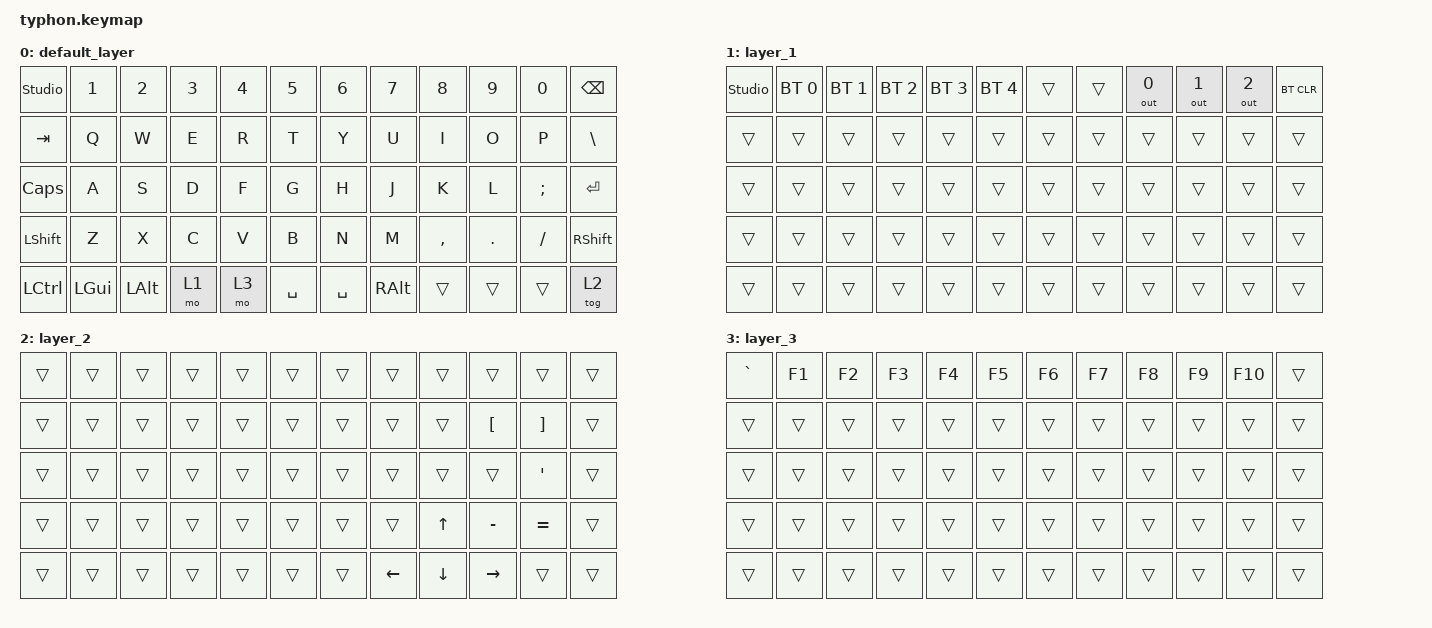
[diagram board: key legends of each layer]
#include <behaviors.dtsi>
#include <dt-bindings/zmk/keys.h>
#include <dt-bindings/zmk/bt.h>

/ {
        keymap {
                compatible = "zmk,keymap";

                default_layer {
                        bindings = <
   &studio_unlock   &kp N1   &kp N2    &kp N3   &kp N4 &kp N5      &kp N6    &kp N7   &kp N8    &kp N9  &kp N0   &kp BSPC
   &kp TAB   &kp Q    &kp W     &kp E    &kp R  &kp T       &kp Y     &kp U    &kp I     &kp O   &kp P    &kp BSLH
   &kp CAPS  &kp A    &kp S     &kp D    &kp F  &kp G       &kp H     &kp J    &kp K     &kp L   &kp SEMI &kp RET
   &kp LSHFT &kp Z    &kp X     &kp C    &kp V  &kp B       &kp N     &kp M    &kp COMMA &kp DOT &kp FSLH &kp RSHFT
   &kp LCTRL &kp LGUI &kp LALT  &mo 1   &mo 3  &kp SPACE   &kp SPACE &kp RALT &trans    &trans   &trans    &tog 2
                        >;
                };
                layer_1 {
                        bindings = <
   &studio_unlock  &bt BT_SEL 0 &bt BT_SEL 1 &bt BT_SEL 2 &bt BT_SEL 3 &bt BT_SEL 4   &trans   &trans   &out 0  &out 1    &out 2   &bt BT_CLR
   &trans     &trans       &trans       &trans       &trans       &trans              &trans   &trans   &trans  &trans    &trans   &trans
   &trans     &trans       &trans       &trans       &trans       &trans              &trans   &trans   &trans  &trans    &trans   &trans
   &trans     &trans       &trans       &trans       &trans       &trans              &trans   &trans   &trans  &trans    &trans   &trans
   &trans     &trans       &trans       &trans       &trans       &trans              &trans   &trans   &trans  &trans    &trans   &trans
                        >;
                };

                layer_2 {
                        bindings = <
   &trans    &trans   &trans &trans   &trans   &trans      &trans    &trans    &trans    &trans     &trans    &trans
   &trans    &trans   &trans &trans   &trans   &trans      &trans    &trans    &trans    &kp LBKT   &kp RBKT  &trans
   &trans    &trans   &trans &trans   &trans   &trans      &trans    &trans    &trans    &trans     &kp SQT   &trans
   &trans    &trans   &trans &trans   &trans   &trans      &trans    &trans    &kp UP    &kp MINUS  &kp EQUAL &trans
   &trans    &trans   &trans &trans   &trans   &trans      &trans    &kp LEFT  &kp DOWN  &kp RIGHT    &trans    &trans
                        >;
                };
                layer_3 {
                        bindings = <
   &kp GRAVE  &kp F1       &kp F2       &kp F3       &kp F4       &kp F5         &kp F6   &kp F7   &kp F8  &kp F9    &kp F10  &trans
   &trans     &trans       &trans       &trans       &trans       &trans         &trans   &trans   &trans  &trans    &trans   &trans
   &trans     &trans       &trans       &trans       &trans       &trans         &trans   &trans   &trans  &trans    &trans   &trans
   &trans     &trans       &trans       &trans       &trans       &trans         &trans   &trans   &trans  &trans    &trans   &trans
   &trans     &trans       &trans       &trans       &trans       &trans         &trans   &trans   &trans  &trans    &trans   &trans
                        >;
                };
        };
};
